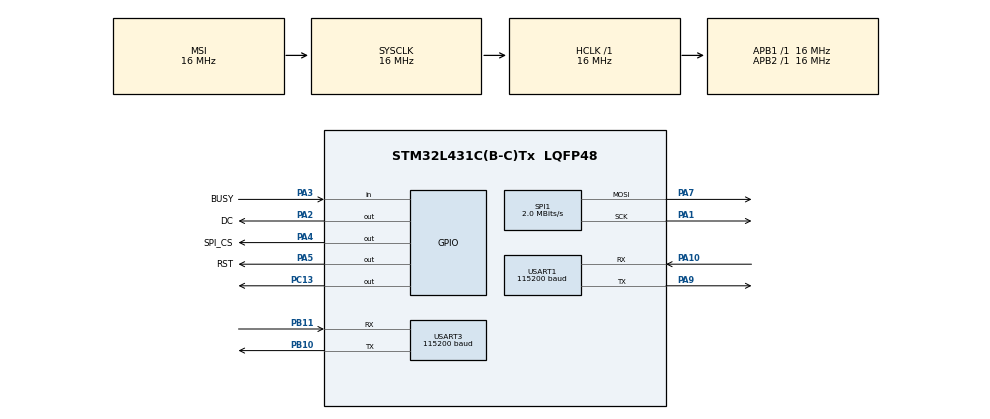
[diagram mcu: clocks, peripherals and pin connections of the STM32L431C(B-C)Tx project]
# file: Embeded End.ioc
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Dma.Request0=USART1_RX
Dma.Request1=USART1_TX
Dma.USART1_RX.0.Direction=DMA_PERIPH_TO_MEMORY
Dma.USART1_RX.0.Instance=DMA1_Channel5
Dma.USART1_RX.0.MemDataAlignment=DMA_MDATAALIGN_BYTE
Dma.USART1_RX.0.MemInc=DMA_MINC_ENABLE
Dma.USART1_RX.0.Mode=DMA_CIRCULAR
Dma.USART1_RX.0.PeriphDataAlignment=DMA_PDATAALIGN_BYTE
Dma.USART1_RX.0.PeriphInc=DMA_PINC_DISABLE
Dma.USART1_RX.0.Priority=DMA_PRIORITY_MEDIUM
Dma.USART1_TX.1.Direction=DMA_MEMORY_TO_PERIPH
Dma.USART1_TX.1.Instance=DMA1_Channel4
Dma.USART1_TX.1.MemDataAlignment=DMA_MDATAALIGN_BYTE
Dma.USART1_TX.1.MemInc=DMA_MINC_ENABLE
Dma.USART1_TX.1.Mode=DMA_NORMAL
Dma.USART1_TX.1.PeriphDataAlignment=DMA_PDATAALIGN_BYTE
Dma.USART1_TX.1.PeriphInc=DMA_PINC_DISABLE
Dma.USART1_TX.1.Priority=DMA_PRIORITY_LOW
FREERTOS.BinarySemaphores01=ScreenSemaphore,Dynamic,NULL;CalcSemaphore,Dynamic,NULL
FREERTOS.HEAP_NUMBER=4
FREERTOS.INCLUDE_eTaskGetState=1
FREERTOS.INCLUDE_pcTaskGetTaskName=0
FREERTOS.INCLUDE_uxTaskGetStackHighWaterMark=1
FREERTOS.INCLUDE_uxTaskGetStackHighWaterMark2=0
FREERTOS.INCLUDE_uxTaskPriorityGet=1
FREERTOS.INCLUDE_vTaskCleanUpResources=0
FREERTOS.INCLUDE_vTaskDelay=1
FREERTOS.INCLUDE_vTaskDelayUntil=1
FREERTOS.INCLUDE_vTaskDelete=1
FREERTOS.INCLUDE_vTaskPrioritySet=1
FREERTOS.INCLUDE_vTaskSuspend=1
FREERTOS.INCLUDE_xEventGroupSetBitFromISR=0
FREERTOS.INCLUDE_xQueueGetMutexHolder=1
FREERTOS.INCLUDE_xSemaphoreGetMutexHolder=0
FREERTOS.INCLUDE_xTaskAbortDelay=0
FREERTOS.INCLUDE_xTaskGetCurrentTaskHandle=0
FREERTOS.INCLUDE_xTaskGetHandle=0
FREERTOS.INCLUDE_xTaskGetSchedulerState=1
FREERTOS.INCLUDE_xTaskResumeFromISR=1
FREERTOS.INCLUDE_xTimerPendFunctionCall=1
FREERTOS.Queues01=QueueUARTToAllocator,100,uint8_t,0,Dynamic,NULL,NULL
FREERTOS.Tasks01=Allocator,40,256,TaskAllocator,Default,NULL,Dynamic,NULL,NULL;ScreenRefresh,31,256,TaskScreenRefresh,Default,NULL,Dynamic,NULL,NULL;Calculation,24,256,TaskCalculation,Default,NULL,Dynamic,NULL,NULL;BlinkLED,48,128,TaskBlinkLED,Default,NULL,Dynamic,NULL,NULL
FREERTOS.configCHECK_FOR_STACK_OVERFLOW=0
FREERTOS.configENABLE_BACKWARD_COMPATIBILITY=1
FREERTOS.configENABLE_FPU=0
FREERTOS.configGENERATE_RUN_TIME_STATS=0
FREERTOS.configIDLE_SHOULD_YIELD=1
FREERTOS.configLIBRARY_LOWEST_INTERRUPT_PRIORITY=15
FREERTOS.configLIBRARY_MAX_SYSCALL_INTERRUPT_PRIORITY=5
FREERTOS.configMAX_CO_ROUTINE_PRIORITIES=2
FREERTOS.configMAX_TASK_NAME_LEN=16
FREERTOS.configQUEUE_REGISTRY_SIZE=8
FREERTOS.configRECORD_STACK_HIGH_ADDRESS=0
FREERTOS.configTICK_RATE_HZ=1000
FREERTOS.configTIMER_QUEUE_LENGTH=10
FREERTOS.configTIMER_TASK_PRIORITY=2
FREERTOS.configTIMER_TASK_STACK_DEPTH=256
FREERTOS.configTOTAL_HEAP_SIZE=0x4000
FREERTOS.configUSE_APPLICATION_TASK_TAG=0
FREERTOS.configUSE_COUNTING_SEMAPHORES=1
FREERTOS.configUSE_CO_ROUTINES=0
FREERTOS.configUSE_DAEMON_TASK_STARTUP_HOOK=0
FREERTOS.configUSE_IDLE_HOOK=0
FREERTOS.configUSE_MALLOC_FAILED_HOOK=0
FREERTOS.configUSE_MUTEXES=1
FREERTOS.configUSE_NEWLIB_REENTRANT=0
FREERTOS.configUSE_POSIX_ERRNO=0
FREERTOS.configUSE_PREEMPTION=1
FREERTOS.configUSE_RECURSIVE_MUTEXES=1
FREERTOS.configUSE_STATS_FORMATTING_FUNCTIONS=0
FREERTOS.configUSE_TASK_NOTIFICATIONS=1
FREERTOS.configUSE_TICKLESS_IDLE=0
FREERTOS.configUSE_TICK_HOOK=0
FREERTOS.configUSE_TRACE_FACILITY=1
FREERTOS.copyHeapFile=1
IWDG.Prescaler=IWDG_PRESCALER_256
IWDG.Reload=500
Mcu.Family=STM32L4
Mcu.Name=STM32L431C(B-C)Tx
Mcu.Package=LQFP48
NVIC.DMA1_Channel4_IRQn=true\:5\:0\:false\:false\:true\:true\:false\:true
NVIC.DMA1_Channel5_IRQn=true\:5\:0\:false\:false\:true\:true\:false\:true
NVIC.PriorityGroup=NVIC_PRIORITYGROUP_4
NVIC.TIM1_UP_TIM16_IRQn=true\:0\:0\:false\:false\:true\:false\:false\:true
NVIC.TimeBase=TIM1_UP_TIM16_IRQn
NVIC.TimeBaseIP=TIM16
NVIC.USART1_IRQn=true\:5\:0\:false\:false\:true\:true\:true\:true
PA1.Mode=TX_Only_Simplex_Unidirect_Master
PA1.Signal=SPI1_SCK
PA10.Mode=Asynchronous
PA10.Signal=USART1_RX
PA13\ (JTMS-SWDIO).Mode=Serial_Wire
PA13\ (JTMS-SWDIO).Signal=SYS_JTMS-SWDIO
PA14\ (JTCK-SWCLK).Mode=Serial_Wire
PA14\ (JTCK-SWCLK).Signal=SYS_JTCK-SWCLK
PA2.GPIO_Label=DC
PA2.Signal=GPIO_Output
PA3.GPIO_Label=BUSY
PA3.Signal=GPIO_Input
PA4.GPIO_Label=SPI_CS
PA4.Signal=GPIO_Output
PA5.GPIO_Label=RST
PA5.Signal=GPIO_Output
PA7.Mode=TX_Only_Simplex_Unidirect_Master
PA7.Signal=SPI1_MOSI
PA9.Mode=Asynchronous
PA9.Signal=USART1_TX
PB10.Mode=Asynchronous
PB10.Signal=USART3_TX
PB11.Mode=Asynchronous
PB11.Signal=USART3_RX
PC13.GPIO_ModeDefaultOutputPP=GPIO_MODE_OUTPUT_PP
PC13.GPIO_PuPd=GPIO_PULLUP
PC13.GPIO_Speed=GPIO_SPEED_FREQ_LOW
PC13.PinState=GPIO_PIN_SET
PC13.Signal=GPIO_Output
ProjectManager.HeapSize=0x3000
ProjectManager.StackSize=0x3000
ProjectManager.TargetToolchain=MDK-ARM V5.27
RCC.ADCFreq_Value=64000000
RCC.AHBFreq_Value=16000000
RCC.APB1Freq_Value=16000000
RCC.APB1TimFreq_Value=16000000
RCC.APB2Freq_Value=16000000
RCC.APB2TimFreq_Value=16000000
RCC.CortexFreq_Value=16000000
RCC.HCLKFreq_Value=16000000
RCC.HSE_VALUE=8000000
RCC.HSI48_VALUE=48000000
RCC.HSI_VALUE=16000000
RCC.LSE_VALUE=32768
RCC.MSIClockRange=RCC_MSIRANGE_8
RCC.MSI_VALUE=16000000
RCC.SYSCLKFreq_VALUE=16000000
RCC.VCOOutputFreq_Value=128000000
SPI1.BaudRatePrescaler=SPI_BAUDRATEPRESCALER_8
SPI1.CLKPhase=SPI_PHASE_1EDGE
SPI1.CLKPolarity=SPI_POLARITY_LOW
SPI1.CRCCalculation=SPI_CRCCALCULATION_DISABLE
SPI1.CalculateBaudRate=2.0 MBits/s
SPI1.DataSize=SPI_DATASIZE_8BIT
SPI1.Direction=SPI_DIRECTION_2LINES
SPI1.FirstBit=SPI_FIRSTBIT_MSB
SPI1.Mode=SPI_MODE_MASTER
SPI1.NSS=SPI_NSS_SOFT
SPI1.NSSPMode=SPI_NSS_PULSE_ENABLE
SPI1.TIMode=SPI_TIMODE_DISABLE
SPI1.VirtualType=VM_MASTER
TIM7.Period=65535
TIM7.Prescaler=16
USART1.AutoBaudRateEnableParam=UART_ADVFEATURE_AUTOBAUDRATE_DISABLE
USART1.BaudRate=115200
USART1.DMADisableonRxErrorParam=ADVFEATURE_DMA_ENABLEONRXERROR
USART1.DataInvertParam=ADVFEATURE_DATAINV_DISABLE
USART1.MSBFirstParam=ADVFEATURE_MSBFIRST_DISABLE
USART1.Mode=MODE_TX_RX
USART1.OneBitSampling=UART_ONE_BIT_SAMPLE_DISABLE
USART1.OverSampling=UART_OVERSAMPLING_16
USART1.OverrunDisableParam=ADVFEATURE_OVERRUN_ENABLE
USART1.Parity=PARITY_NONE
USART1.RxPinLevelInvertParam=ADVFEATURE_RXINV_DISABLE
USART1.StopBits=STOPBITS_1
USART1.SwapParam=ADVFEATURE_SWAP_DISABLE
USART1.TxPinLevelInvertParam=ADVFEATURE_TXINV_DISABLE
USART1.VirtualMode-Asynchronous=VM_ASYNC
USART1.WordLength=WORDLENGTH_8B
USART3.AutoBaudRateEnableParam=UART_ADVFEATURE_AUTOBAUDRATE_DISABLE
USART3.BaudRate=115200
USART3.DMADisableonRxErrorParam=ADVFEATURE_DMA_ENABLEONRXERROR
USART3.DataInvertParam=ADVFEATURE_DATAINV_DISABLE
USART3.MSBFirstParam=ADVFEATURE_MSBFIRST_DISABLE
USART3.Mode=MODE_TX_RX
USART3.OneBitSampling=UART_ONE_BIT_SAMPLE_DISABLE
USART3.OverSampling=UART_OVERSAMPLING_16
USART3.OverrunDisableParam=ADVFEATURE_OVERRUN_ENABLE
USART3.Parity=PARITY_NONE
USART3.RxPinLevelInvertParam=ADVFEATURE_RXINV_DISABLE
USART3.StopBits=STOPBITS_1
USART3.SwapParam=ADVFEATURE_SWAP_DISABLE
USART3.TxPinLevelInvertParam=ADVFEATURE_TXINV_DISABLE
USART3.VirtualMode-Asynchronous=VM_ASYNC
USART3.WordLength=WORDLENGTH_8B
VP_FREERTOS_VS_CMSIS_V2.Mode=CMSIS_V2
VP_IWDG_VS_IWDG.Mode=IWDG_Activate
VP_SYS_VS_tim16.Mode=TIM16
VP_TIM7_VS_ClockSourceINT.Mode=Enable_Timer
board=custom

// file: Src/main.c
/* USER CODE BEGIN Header */
/**
  ******************************************************************************
  * @file           : main.c
  * @brief          : Main program body
  ******************************************************************************
  * @attention
  *
  * <h2><center>&copy; Copyright (c) 2021 STMicroelectronics.
  * All rights reserved.</center></h2>
  *
  * This software component is licensed by ST under BSD 3-Clause license,
  * the "License"; You may not use this file except in compliance with the
  * License. You may obtain a copy of the License at:
  *                        opensource.org/licenses/BSD-3-Clause
  *
  ******************************************************************************
  */
/* USER CODE END Header */

#include "main.h"
#include "cmsis_os.h"

/* USER CODE BEGIN Includes */
#include "stdio.h"
#include "queue.h"
#include "semphr.h"
#include "GUI_Paint.h"
//#include "EPD_Test.h"
#include "DEV_Config.h"
#include "EPD_1in54c.h"
//#include "parse_eval.c"
#include "expr.h"

#define WAITHEAD1 0
#define WAITHEAD2 1
#define WAITHEAD3 2
#define GETCOMMAND 3
#define GETLEN1 4
#define GETLEN2 5
#define READDATA 6
#define READIMAGE 7
#define SUMCHECK 8

#define TASK_SCREEN 1
#define TASK_CALCULATION 2

#define HEAD1 0x11
#define HEAD2 0x22
#define HEAD3 0x33
//#define RECEIVING 1
//#define NOTRECEIVING 0

/* USER CODE END Includes */

IWDG_HandleTypeDef hiwdg;

SPI_HandleTypeDef hspi1;

TIM_HandleTypeDef htim7;

UART_HandleTypeDef huart1;
UART_HandleTypeDef huart3;
DMA_HandleTypeDef hdma_usart1_rx;
DMA_HandleTypeDef hdma_usart1_tx;

/* Definitions for Allocator */
osThreadId_t AllocatorHandle;
const osThreadAttr_t Allocator_attributes = {
  .name = "Allocator",
  .priority = (osPriority_t) osPriorityHigh,
  .stack_size = 256 * 4
};
/* Definitions for ScreenRefresh */
osThreadId_t ScreenRefreshHandle;
const osThreadAttr_t ScreenRefresh_attributes = {
  .name = "ScreenRefresh",
  .priority = (osPriority_t) osPriorityNormal7,
  .stack_size = 256 * 4
};
/* Definitions for Calculation */
osThreadId_t CalculationHandle;
const osThreadAttr_t Calculation_attributes = {
  .name = "Calculation",
  .priority = (osPriority_t) osPriorityNormal,
  .stack_size = 256 * 4
};
/* Definitions for BlinkLED */
osThreadId_t BlinkLEDHandle;
const osThreadAttr_t BlinkLED_attributes = {
  .name = "BlinkLED",
  .priority = (osPriority_t) osPriorityRealtime,
  .stack_size = 128 * 4
};
/* Definitions for QueueUARTToAllocator */
osMessageQueueId_t QueueUARTToAllocatorHandle;
const osMessageQueueAttr_t QueueUARTToAllocator_attributes = {
  .name = "QueueUARTToAllocator"
};
/* Definitions for ScreenSemaphore */
osSemaphoreId_t ScreenSemaphoreHandle;
const osSemaphoreAttr_t ScreenSemaphore_attributes = {
  .name = "ScreenSemaphore"
};
/* Definitions for CalcSemaphore */
osSemaphoreId_t CalcSemaphoreHandle;
const osSemaphoreAttr_t CalcSemaphore_attributes = {
  .name = "CalcSemaphore"
};
/* USER CODE BEGIN PV */
#ifdef __GNUC__
#define PUTCHAR_PROTOTYPE int __io_putchar(int ch)
#else
#define PUTCHAR_PROTOTYPE int fputc(int ch, FILE *f)
#endif
PUTCHAR_PROTOTYPE
{
    //??????????huart3?????
    HAL_UART_Transmit(&huart3 , (uint8_t *)&ch, 1,100);
    return ch;
}

uint8_t UpperRx=0;
UBYTE BlackImage[2888];
UBYTE YellowImage[2888];
UWORD Imagesize = ((EPD_1IN54C_WIDTH % 8 == 0)? (EPD_1IN54C_WIDTH / 8 ): (EPD_1IN54C_WIDTH / 8 + 1)) * EPD_1IN54C_HEIGHT;
uint8_t DataBuffer[100];
/* USER CODE END PV */

void SystemClock_Config(void);
static void MX_GPIO_Init(void);
static void MX_DMA_Init(void);
static void MX_USART1_UART_Init(void);
static void MX_SPI1_Init(void);
static void MX_USART3_UART_Init(void);
static void MX_IWDG_Init(void);
static void MX_TIM7_Init(void);
void TaskAllocator(void *argument);
void TaskScreenRefresh(void *argument);
void TaskCalculation(void *argument);
void TaskBlinkLED(void *argument);

int main(void)
{

  /* MCU Configuration--------------------------------------------------------*/

  /* Reset of all peripherals, Initializes the Flash interface and the Systick. */
  HAL_Init();

  /* Configure the system clock */
  SystemClock_Config();

  /* Initialize all configured peripherals */
  MX_GPIO_Init();
  MX_DMA_Init();
  MX_USART1_UART_Init();
  MX_SPI1_Init();
  MX_USART3_UART_Init();
  MX_IWDG_Init();
  MX_TIM7_Init();
  /* USER CODE BEGIN 2 */
	HAL_UART_Receive_DMA(&huart1,&UpperRx,1);// 启动DMA接收
	//DEV_Module_Init();//CS=0，DC=0，RST=1；
	HAL_TIM_Base_Start_IT(&htim7);
  /* USER CODE END 2 */

  /* Init scheduler */
  osKernelInitialize();

  /* Create the semaphores(s) */
  /* creation of ScreenSemaphore */
  ScreenSemaphoreHandle = osSemaphoreNew(1, 1, &ScreenSemaphore_attributes);

  /* creation of CalcSemaphore */
  CalcSemaphoreHandle = osSemaphoreNew(1, 1, &CalcSemaphore_attributes);

  /* USER CODE BEGIN RTOS_SEMAPHORES */
  /* add semaphores, ... */
	xSemaphoreTake(ScreenSemaphoreHandle,0);//刷掉初始信号量
	xSemaphoreTake(CalcSemaphoreHandle,0); //刷掉初始信号量
  /* USER CODE END RTOS_SEMAPHORES */

  /* Create the queue(s) */
  /* creation of QueueUARTToAllocator */
  QueueUARTToAllocatorHandle = osMessageQueueNew (100, sizeof(uint8_t), &QueueUARTToAllocator_attributes);

  /* Create the thread(s) */
  /* creation of Allocator */
  AllocatorHandle = osThreadNew(TaskAllocator, NULL, &Allocator_attributes);

  /* creation of ScreenRefresh */
  ScreenRefreshHandle = osThreadNew(TaskScreenRefresh, NULL, &ScreenRefresh_attributes);

  /* creation of Calculation */
  CalculationHandle = osThreadNew(TaskCalculation, NULL, &Calculation_attributes);

  /* creation of BlinkLED */
  BlinkLEDHandle = osThreadNew(TaskBlinkLED, NULL, &BlinkLED_attributes);

  /* USER CODE BEGIN RTOS_THREADS */
  /* add threads, ... */
	printf("Welcome!Potato Server Has Started!\r\n");
  /* USER CODE END RTOS_THREADS */

  /* Start scheduler */
  osKernelStart();

  /* We should never get here as control is now taken by the scheduler */
  /* Infinite loop */
  while (1)
  {

  }
}

void SystemClock_Config(void)
{
  RCC_OscInitTypeDef RCC_OscInitStruct = {0};
  RCC_ClkInitTypeDef RCC_ClkInitStruct = {0};
  RCC_PeriphCLKInitTypeDef PeriphClkInit = {0};

  /** Initializes the CPU, AHB and APB busses clocks
  */
  RCC_OscInitStruct.OscillatorType = RCC_OSCILLATORTYPE_LSI|RCC_OSCILLATORTYPE_MSI;
  RCC_OscInitStruct.LSIState = RCC_LSI_ON;
  RCC_OscInitStruct.MSIState = RCC_MSI_ON;
  RCC_OscInitStruct.MSICalibrationValue = 0;
  RCC_OscInitStruct.MSIClockRange = RCC_MSIRANGE_8;
  RCC_OscInitStruct.PLL.PLLState = RCC_PLL_NONE;
  if (HAL_RCC_OscConfig(&RCC_OscInitStruct) != HAL_OK)
  {
    Error_Handler();
  }
  /** Initializes the CPU, AHB and APB busses clocks
  */
  RCC_ClkInitStruct.ClockType = RCC_CLOCKTYPE_HCLK|RCC_CLOCKTYPE_SYSCLK
                              |RCC_CLOCKTYPE_PCLK1|RCC_CLOCKTYPE_PCLK2;
  RCC_ClkInitStruct.SYSCLKSource = RCC_SYSCLKSOURCE_MSI;
  RCC_ClkInitStruct.AHBCLKDivider = RCC_SYSCLK_DIV1;
  RCC_ClkInitStruct.APB1CLKDivider = RCC_HCLK_DIV1;
  RCC_ClkInitStruct.APB2CLKDivider = RCC_HCLK_DIV1;

  if (HAL_RCC_ClockConfig(&RCC_ClkInitStruct, FLASH_LATENCY_0) != HAL_OK)
  {
    Error_Handler();
  }
  PeriphClkInit.PeriphClockSelection = RCC_PERIPHCLK_USART1|RCC_PERIPHCLK_USART3;
  PeriphClkInit.Usart1ClockSelection = RCC_USART1CLKSOURCE_PCLK2;
  PeriphClkInit.Usart3ClockSelection = RCC_USART3CLKSOURCE_PCLK1;
  if (HAL_RCCEx_PeriphCLKConfig(&PeriphClkInit) != HAL_OK)
  {
    Error_Handler();
  }
  /** Configure the main internal regulator output voltage
  */
  if (HAL_PWREx_ControlVoltageScaling(PWR_REGULATOR_VOLTAGE_SCALE1) != HAL_OK)
  {
    Error_Handler();
  }
}

static void MX_IWDG_Init(void)
{

  hiwdg.Instance = IWDG;
  hiwdg.Init.Prescaler = IWDG_PRESCALER_256;
  hiwdg.Init.Window = 4095;
  hiwdg.Init.Reload = 500;
  if (HAL_IWDG_Init(&hiwdg) != HAL_OK)
  {
    Error_Handler();
  }

}

static void MX_SPI1_Init(void)
{

  /* SPI1 parameter configuration*/
  hspi1.Instance = SPI1;
  hspi1.Init.Mode = SPI_MODE_MASTER;
  hspi1.Init.Direction = SPI_DIRECTION_2LINES;
  hspi1.Init.DataSize = SPI_DATASIZE_8BIT;
  hspi1.Init.CLKPolarity = SPI_POLARITY_LOW;
  hspi1.Init.CLKPhase = SPI_PHASE_1EDGE;
  hspi1.Init.NSS = SPI_NSS_SOFT;
  hspi1.Init.BaudRatePrescaler = SPI_BAUDRATEPRESCALER_8;
  hspi1.Init.FirstBit = SPI_FIRSTBIT_MSB;
  hspi1.Init.TIMode = SPI_TIMODE_DISABLE;
  hspi1.Init.CRCCalculation = SPI_CRCCALCULATION_DISABLE;
  hspi1.Init.CRCPolynomial = 7;
  hspi1.Init.CRCLength = SPI_CRC_LENGTH_DATASIZE;
  hspi1.Init.NSSPMode = SPI_NSS_PULSE_ENABLE;
  if (HAL_SPI_Init(&hspi1) != HAL_OK)
  {
    Error_Handler();
  }

}

static void MX_TIM7_Init(void)
{

  TIM_MasterConfigTypeDef sMasterConfig = {0};

  htim7.Instance = TIM7;
  htim7.Init.Prescaler = 16;
  htim7.Init.CounterMode = TIM_COUNTERMODE_UP;
  htim7.Init.Period = 65535;
  htim7.Init.AutoReloadPreload = TIM_AUTORELOAD_PRELOAD_DISABLE;
  if (HAL_TIM_Base_Init(&htim7) != HAL_OK)
  {
    Error_Handler();
  }
  sMasterConfig.MasterOutputTrigger = TIM_TRGO_RESET;
  sMasterConfig.MasterSlaveMode = TIM_MASTERSLAVEMODE_DISABLE;
  if (HAL_TIMEx_MasterConfigSynchronization(&htim7, &sMasterConfig) != HAL_OK)
  {
    Error_Handler();
  }

}

static void MX_USART1_UART_Init(void)
{

  huart1.Instance = USART1;
  huart1.Init.BaudRate = 115200;
  huart1.Init.WordLength = UART_WORDLENGTH_8B;
  huart1.Init.StopBits = UART_STOPBITS_1;
  huart1.Init.Parity = UART_PARITY_NONE;
  huart1.Init.Mode = UART_MODE_TX_RX;
  huart1.Init.HwFlowCtl = UART_HWCONTROL_NONE;
  huart1.Init.OverSampling = UART_OVERSAMPLING_16;
  huart1.Init.OneBitSampling = UART_ONE_BIT_SAMPLE_DISABLE;
  huart1.AdvancedInit.AdvFeatureInit = UART_ADVFEATURE_NO_INIT;
  if (HAL_UART_Init(&huart1) != HAL_OK)
  {
    Error_Handler();
  }

}

static void MX_USART3_UART_Init(void)
{

  huart3.Instance = USART3;
  huart3.Init.BaudRate = 115200;
  huart3.Init.WordLength = UART_WORDLENGTH_8B;
  huart3.Init.StopBits = UART_STOPBITS_1;
  huart3.Init.Parity = UART_PARITY_NONE;
  huart3.Init.Mode = UART_MODE_TX_RX;
  huart3.Init.HwFlowCtl = UART_HWCONTROL_NONE;
  huart3.Init.OverSampling = UART_OVERSAMPLING_16;
  huart3.Init.OneBitSampling = UART_ONE_BIT_SAMPLE_DISABLE;
  huart3.AdvancedInit.AdvFeatureInit = UART_ADVFEATURE_NO_INIT;
  if (HAL_UART_Init(&huart3) != HAL_OK)
  {
    Error_Handler();
  }

}

static void MX_DMA_Init(void)
{

  /* DMA controller clock enable */
  __HAL_RCC_DMA1_CLK_ENABLE();

  /* DMA interrupt init */
  /* DMA1_Channel4_IRQn interrupt configuration */
  HAL_NVIC_SetPriority(DMA1_Channel4_IRQn, 5, 0);
  HAL_NVIC_EnableIRQ(DMA1_Channel4_IRQn);
  /* DMA1_Channel5_IRQn interrupt configuration */
  HAL_NVIC_SetPriority(DMA1_Channel5_IRQn, 5, 0);
  HAL_NVIC_EnableIRQ(DMA1_Channel5_IRQn);

}

static void MX_GPIO_Init(void)
{
  GPIO_InitTypeDef GPIO_InitStruct = {0};

  /* GPIO Ports Clock Enable */
  __HAL_RCC_GPIOC_CLK_ENABLE();
  __HAL_RCC_GPIOA_CLK_ENABLE();
  __HAL_RCC_GPIOB_CLK_ENABLE();

  /*Configure GPIO pin Output Level */
  HAL_GPIO_WritePin(GPIOC, GPIO_PIN_13, GPIO_PIN_SET);

  /*Configure GPIO pin Output Level */
  HAL_GPIO_WritePin(GPIOA, DC_Pin|SPI_CS_Pin|RST_Pin, GPIO_PIN_RESET);

  /*Configure GPIO pin : PC13 */
  GPIO_InitStruct.Pin = GPIO_PIN_13;
  GPIO_InitStruct.Mode = GPIO_MODE_OUTPUT_PP;
  GPIO_InitStruct.Pull = GPIO_PULLUP;
  GPIO_InitStruct.Speed = GPIO_SPEED_FREQ_LOW;
  HAL_GPIO_Init(GPIOC, &GPIO_InitStruct);

  /*Configure GPIO pins : DC_Pin SPI_CS_Pin RST_Pin */
  GPIO_InitStruct.Pin = DC_Pin|SPI_CS_Pin|RST_Pin;
  GPIO_InitStruct.Mode = GPIO_MODE_OUTPUT_PP;
  GPIO_InitStruct.Pull = GPIO_NOPULL;
  GPIO_InitStruct.Speed = GPIO_SPEED_FREQ_LOW;
  HAL_GPIO_Init(GPIOA, &GPIO_InitStruct);

  /*Configure GPIO pin : BUSY_Pin */
  GPIO_InitStruct.Pin = BUSY_Pin;
  GPIO_InitStruct.Mode = GPIO_MODE_INPUT;
  GPIO_InitStruct.Pull = GPIO_NOPULL;
  HAL_GPIO_Init(BUSY_GPIO_Port, &GPIO_InitStruct);

}

/* USER CODE BEGIN 4 */
void HAL_UART_RxCpltCallback(UART_HandleTypeDef *huart)//串口回调函数
{
	//printf(" !$");
	 if(huart->Instance==USART1)//上位机信号
	{
		BaseType_t xHigherPriorityTaskWoken=pdFALSE;
		if(xQueueSendFromISR(QueueUARTToAllocatorHandle , &UpperRx, &xHigherPriorityTaskWoken )!=pdTRUE)printf("**@$$");
		portYIELD_FROM_ISR(xHigherPriorityTaskWoken);

	}
}
/* USER CODE END 4 */

void TaskAllocator(void *argument)
{
  /* USER CODE BEGIN 5 */
	static BaseType_t xReturn = pdTRUE;
	static uint8_t Rx_queue;
	static uint8_t Status=WAITHEAD1;
	//static uint8_t IfReceiving=NOTRECEIVING;
	static uint8_t Command=0;
	static uint16_t DataLenHigh8=0;
	static uint16_t DataLenLow8=0;
	static uint16_t DataLen=0;
	uint16_t i;
	uint8_t CheckSum=0;//校验和

  /* Infinite loop */
  for(;;)
  {
		xReturn = xQueueReceive( QueueUARTToAllocatorHandle, /* 消息队列的句柄 */
		&Rx_queue, /* 发送的消息内容 */
		(Status==WAITHEAD1?portMAX_DELAY:250));
		if (pdTRUE== xReturn){
		//printf("：0x%x\r\n",Rx_queue);
		}
		else {
			printf("timeout!0x%lx LENGTH=%d\r\n",xReturn,i);
			Status=WAITHEAD1;//回到初始状态
		}
		switch(Status)//接收状态机
		{
			case WAITHEAD1: if(Rx_queue==HEAD1){Status=WAITHEAD2;} else Status=WAITHEAD1;break;
			case WAITHEAD2: if(Rx_queue==HEAD2)Status=WAITHEAD3;else Status=WAITHEAD1;break;
			case WAITHEAD3: if(Rx_queue==HEAD3){Status=GETCOMMAND;/*	printf("catch a frame!\r\n");*/}else Status=WAITHEAD1;break;
			case GETCOMMAND:
				Command=Rx_queue;
				Status=GETLEN1;
				break;
			case GETLEN1: DataLenHigh8=Rx_queue;Status=GETLEN2;break;
			case GETLEN2:
				DataLenLow8=Rx_queue;
				DataLen=(DataLenHigh8<<8)+DataLenLow8;
				//printf("length=%d\r\n",DataLen);
				if(Command==TASK_SCREEN){Status=READIMAGE;/*printf("Taskscreen\r\n");*/}
				else Status=READDATA;
				i=0;
				CheckSum=0;
				break;
			case READDATA:
				DataBuffer[i]=Rx_queue;
				CheckSum+=Rx_queue;
				i++;
				if(i==DataLen){DataBuffer[i]=0;Status=SUMCHECK;}
				break;

			case READIMAGE:
				if(i<2888)BlackImage[i]=Rx_queue;
				else YellowImage[i-2888]=Rx_queue;
				CheckSum+=Rx_queue;
				i++;
				if(i==DataLen)Status=SUMCHECK;
				break;

			case SUMCHECK:
				//printf("CheckSum=%d",CheckSum);
				if(Rx_queue==CheckSum)
				{
					//printf("receive a complete frame\r\n");
					//分配接收到的数据给子任务
					switch(Command)
					{
						case TASK_SCREEN:
							xReturn = xSemaphoreGive(ScreenSemaphoreHandle );//给出二值信号量
							if ( xReturn == pdTRUE )
								printf("TaskScreen:\r\n");
							else
							printf("TaskScreen Block!\r\n");
							break;

						case TASK_CALCULATION:
							xReturn = xSemaphoreGive(CalcSemaphoreHandle );//给出二值信号量
							if ( xReturn == pdTRUE )
								printf("TaskCalc:\r\n");
							else
							printf("TaskCalc Block!\r\n");
							break;

						default: Status=WAITHEAD1;break;
					}
					Status=WAITHEAD1;
				}
				else
				{
					switch(Command)
					{
						case TASK_SCREEN:
							printf("taskscreen Fail!\r\n");
							break;
						case TASK_CALCULATION:
							printf("taskCalc Fail!\r\n");
							break;
						default:break;
					}
					Status=WAITHEAD1;
				}
				break;
			default: Status=WAITHEAD1;break;
		}

  }
  /* USER CODE END 5 */
}

void TaskScreenRefresh(void *argument)
{
  /* USER CODE BEGIN TaskScreenRefresh */
	static BaseType_t xReturn = pdFALSE;
  /* Infinite loop */
  for(;;)
  {
		xReturn = xSemaphoreTake(ScreenSemaphoreHandle,/* 二值信号量句柄 */
		portMAX_DELAY); /* 等待时间 */
		if (pdTRUE == xReturn)
		printf("refreshing screen!\r\n");
		DEV_Module_Init();
		EPD_1IN54C_Init();
    //EPD_1IN54C_Clear();
		//Paint_NewImage(BlackImage, EPD_1IN54C_WIDTH, EPD_1IN54C_HEIGHT, 270, WHITE);
		//Paint_SelectImage(BlackImage);
    //Paint_Clear(WHITE);
		//Paint_SelectImage(YellowImage);
    //Paint_Clear(WHITE);
		//printf("disp------------------------\r\n");
		EPD_1IN54C_Display(BlackImage, YellowImage);//刷新屏幕
		//printf("close 5V, Module enters 0 power consumption ...\r\n");
		printf("Screen Refresh Finish!\r\n");
    DEV_Module_Exit();
  }
  /* USER CODE END TaskScreenRefresh */
}

void TaskCalculation(void *argument)
{
  /* USER CODE BEGIN TaskCalculation */
	/*uint16_t error_pos;
	uint8_t compiled_code[256];
	uint16_t compiled_size;
	int32_t val;*/
	//const char *s = "(1+1)+(1*1)";
	static BaseType_t xReturn = pdFALSE;
	struct expr_var_list vars = {0};
	struct expr *e;
	float result;
	short sysclock1 = 0;
	short sysclock2 = 0;
  /* Infinite loop */
  for(;;)
  {
		xReturn = xSemaphoreTake(CalcSemaphoreHandle,/* 二值信号量句柄 */
		portMAX_DELAY); /* 等待时间 */
		if (pdTRUE == xReturn)
		{
			/*printf("task calc!\r\n");
			compiled_size = parse_exp((char*)DataBuffer, compiled_code, sizeof(compiled_code), &error_pos);
			if (!compiled_size)printf("Parse error at position %u\n", (unsigned)error_pos);
			val = eval_compiled(compiled_code, compiled_size, variable_values);
			printf("result = %d\n", val);*///轻量化实现
			//13K内存实现:
			sysclock1 =(short)(TIM7 -> CNT);
			e= expr_create((char*)DataBuffer, strlen((char*)DataBuffer), &vars, NULL);
			if (e == NULL) {
				printf("Syntax error!\r\n");
				expr_destroy(e,&vars);
			}
			else{
				result = expr_eval(e);
				expr_destroy(e,&vars);
				sysclock2 =(short)(TIM7 -> CNT);
				printf("result= %.5f  time=%uus\r\n", result,(short)(sysclock2-sysclock1));
			}

		}

  }
  /* USER CODE END TaskCalculation */
}

void TaskBlinkLED(void *argument)
{
  /* USER CODE BEGIN TaskBlinkLED */
  /* Infinite loop */
  for(;;)
  {
		HAL_IWDG_Refresh(&hiwdg);
    HAL_GPIO_WritePin(GPIOC, GPIO_PIN_13, GPIO_PIN_RESET);
		osDelay(1);
		HAL_GPIO_WritePin(GPIOC, GPIO_PIN_13, GPIO_PIN_SET);
		osDelay(1000);

  }
  /* USER CODE END TaskBlinkLED */
}

 /**
  * @brief  Period elapsed callback in non blocking mode
  * @note   This function is called  when TIM16 interrupt took place, inside
  * HAL_TIM_IRQHandler(). It makes a direct call to HAL_IncTick() to increment
  * a global variable "uwTick" used as application time base.
  * @param  htim : TIM handle
  * @retval None
  */
void HAL_TIM_PeriodElapsedCallback(TIM_HandleTypeDef *htim)
{
  if (htim->Instance == TIM16) {
    HAL_IncTick();
  }
}

void Error_Handler(void)
{
}

/************************ (C) COPYRIGHT STMicroelectronics *****END OF FILE****/
